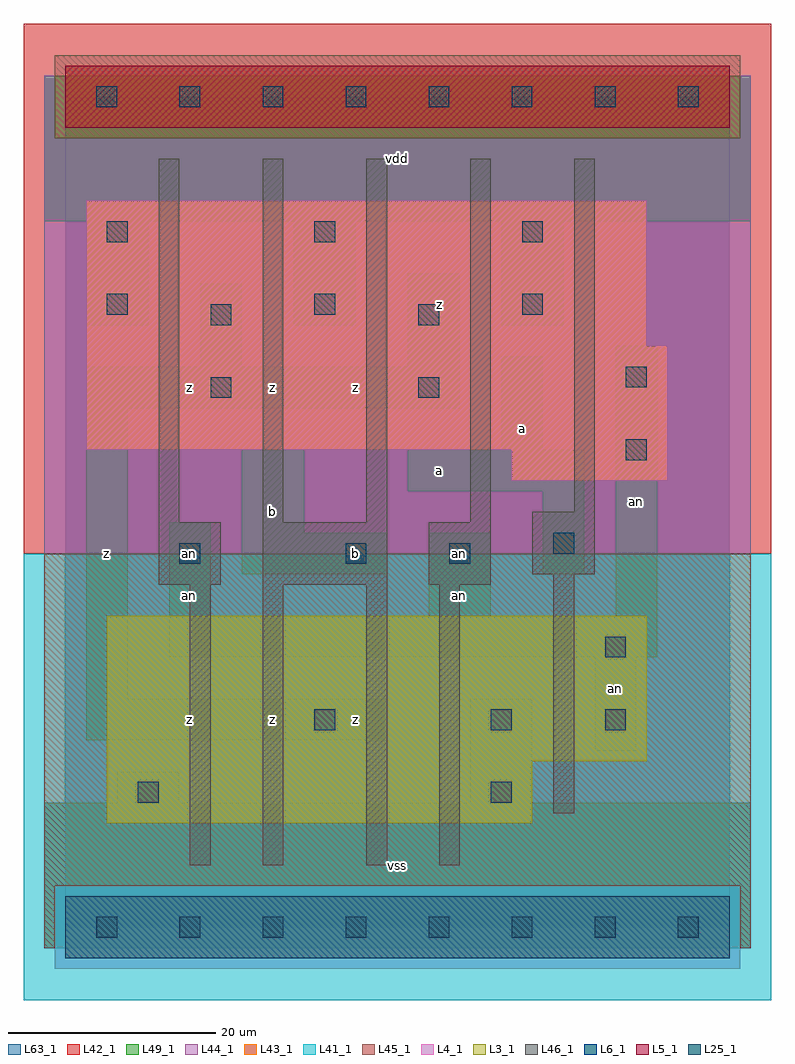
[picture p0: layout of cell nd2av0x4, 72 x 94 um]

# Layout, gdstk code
import gdstk
lib = gdstk.Library(unit=1e-6, precision=1e-09)
def R(c, l, rs):  # rectangles x0, y0, x1, y1
    for r in rs: c.add(gdstk.rectangle(r[:2], r[2:], *l))
def A(c, l, x, y, w, h, nx, ny, dx, dy):  # array of equal rectangles
    R(c, l, [(x+i*dx, y+j*dy, x+i*dx+w, y+j*dy+h) for i in range(nx) for j in range(ny)])
L3_1 = (3, 1)
L4_1 = (4, 1)
L5_1 = (5, 1)
L6_1 = (6, 1)
L25_1 = (25, 1)
L41_1 = (41, 1)
L42_1 = (42, 1)
L43_1 = (43, 1)
L44_1 = (44, 1)
L45_1 = (45, 1)
L46_1 = (46, 1)
L49_1 = (49, 1)
L63_1 = (63, 1)

nd2av0x4 = lib.new_cell('nd2av0x4')
R(nd2av0x4, L3_1, [(4,10,45,16), (4,16,56,30)])
R(nd2av0x4, L4_1, [(43,43,58,46), (2,46,58,56), (2,56,56,70)])
R(nd2av0x4, L5_1, [(0,77,64,83)])
R(nd2av0x4, L6_1, [(0,-3,64,3), (0,-3,64,3)])
A(nd2av0x4, L25_1, 3, -1, 2, 2, 8, 2, 8, 80)
A(nd2av0x4, L25_1, 4, 59, 2, 2, 3, 2, 20, 7)
R(nd2av0x4, L25_1, [(7,12,9,14), (41,12,43,14), (24,19,26,21), (41,19,43,21), (52,19,54,21), (52,26,54,28), (11,35,13,37), (27,35,29,37), (37,35,39,37), (47,36,49,38), (54,45,56,47), (14,51,16,53), (34,51,36,53), (54,52,56,54), (14,58,16,60), (34,58,36,60)])
R(nd2av0x4, L41_1, [(-4,-7,68,36)])
R(nd2av0x4, L42_1, [(-4,36,68,87)])
R(nd2av0x4, L43_1, [(0,-3,64,3), (4,10,45,16), (4,16,56,30), (43,43,58,46), (2,46,58,56), (2,56,56,70), (0,77,64,83)])
R(nd2av0x4, L44_1, [(-1,-4,65,4), (-2,36,66,76), (-2,76,-1,82), (65,76,66,82)])
R(nd2av0x4, L45_1, [(-2,-2,-1,4), (65,-2,66,4), (-2,4,66,36), (-1,76,65,84)])
A(nd2av0x4, L46_1, 9, 39, 2, 35, 4, 1, 10, 0)
R(nd2av0x4, L46_1, [(12,6,14,33), (19,6,21,33), (29,6,31,33), (36,6,38,33), (47,11,49,34), (9,33,15,39), (19,33,31,39), (35,33,41,39), (45,34,51,40), (49,40,51,74)])
A(nd2av0x4, L49_1, 2, 58, 6, 10, 3, 1, 20, 0)
R(nd2av0x4, L49_1, [(-2,-2,66,12), (5,12,11,15), (39,12,45,22), (51,17,55,26), (2,18,31,22), (2,22,6,50), (10,26,57,30), (10,30,14,39), (35,30,41,38), (53,30,57,56), (17,34,31,38), (46,34,50,42), (17,38,23,46), (33,42,50,46), (42,46,46,55), (2,50,38,54), (13,54,17,62), (33,54,38,63), (-2,68,66,82)])
R(nd2av0x4, L63_1, [(0,0,64,80)])
nd2av0x4.add(gdstk.Label('an', (12,36), layer=49, texttype=1))
nd2av0x4.add(gdstk.Label('an', (38,36), layer=49, texttype=1))
nd2av0x4.add(gdstk.Label('z', (4,36), layer=49, texttype=1))
nd2av0x4.add(gdstk.Label('z', (12,20), layer=49, texttype=1))
nd2av0x4.add(gdstk.Label('z', (20,20), layer=49, texttype=1))
nd2av0x4.add(gdstk.Label('an', (12,32), layer=49, texttype=1))
nd2av0x4.add(gdstk.Label('b', (20,40), layer=49, texttype=1))
nd2av0x4.add(gdstk.Label('z', (20,52), layer=49, texttype=1))
nd2av0x4.add(gdstk.Label('z', (12,52), layer=49, texttype=1))
nd2av0x4.add(gdstk.Label('vss', (32,6), layer=49, texttype=1))
nd2av0x4.add(gdstk.Label('z', (28,20), layer=49, texttype=1))
nd2av0x4.add(gdstk.Label('b', (28,36), layer=49, texttype=1))
nd2av0x4.add(gdstk.Label('a', (36,44), layer=49, texttype=1))
nd2av0x4.add(gdstk.Label('z', (28,52), layer=49, texttype=1))
nd2av0x4.add(gdstk.Label('z', (36,60), layer=49, texttype=1))
nd2av0x4.add(gdstk.Label('vdd', (32,74), layer=49, texttype=1))
nd2av0x4.add(gdstk.Label('an', (38,32), layer=49, texttype=1))
nd2av0x4.add(gdstk.Label('a', (44,48), layer=49, texttype=1))
nd2av0x4.add(gdstk.Label('an', (53,23), layer=49, texttype=1))
nd2av0x4.add(gdstk.Label('an', (55,41), layer=49, texttype=1))

lib.write_gds('nd2av0x4.gds')
